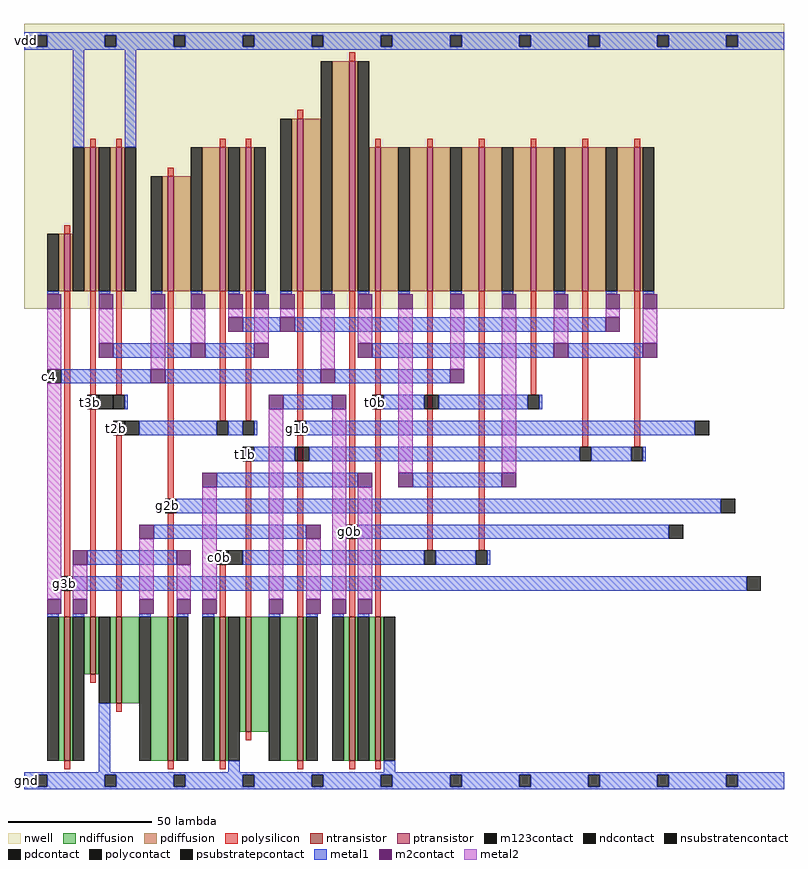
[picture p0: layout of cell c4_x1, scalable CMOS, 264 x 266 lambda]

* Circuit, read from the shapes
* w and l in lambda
.subckt c4_x1 c0b c4 g0b g1b g2b g3b t0b t1b t2b t3b vdd gnd
M1 n1 g3b c4 gnd nfet w=50 l=2
M2 gnd t3b n1 gnd nfet w=20 l=2
M3 n2 t2b gnd gnd nfet w=30 l=2
M4 n1 g2b n2 gnd nfet w=50 l=2
M5 gnd c0b n3 gnd nfet w=50 l=2
M6 n4 t1b gnd gnd nfet w=40 l=2
M7 n2 g1b n4 gnd nfet w=50 l=2
M8 n3 g0b n4 gnd nfet w=50 l=2
M9 gnd t0b n3 gnd nfet w=50 l=2
M10 vdd g3b c4 vdd pfet w=20 l=2
M11 n5 t3b vdd vdd pfet w=50 l=2 m=2
M12 n5 g2b c4 vdd pfet w=40 l=2
M13 n6 t2b n5 vdd pfet w=50 l=2 m=2
M14 c4 g1b n6 vdd pfet w=60 l=2
M15 n7 g0b c4 vdd pfet w=80 l=2
M16 n8 t0b n7 vdd pfet w=50 l=2 m=2
M17 c4 c0b n8 vdd pfet w=50 l=2 m=2
M18 n6 t1b n7 vdd pfet w=50 l=2 m=2
.ends

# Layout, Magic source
magic
tech scmos
<< nwell >>
rect 0 167 264 266
<< ntransistor >>
rect 14 10 16 60
rect 23 40 25 60
rect 32 30 34 60
rect 50 10 52 60
rect 68 10 70 60
rect 77 20 79 60
rect 95 10 97 60
rect 113 10 115 60
rect 122 10 124 60
<< ptransistor >>
rect 14 173 16 193
rect 23 173 25 223
rect 32 173 34 223
rect 50 173 52 213
rect 68 173 70 223
rect 77 173 79 223
rect 95 173 97 233
rect 113 173 115 253
rect 122 173 124 223
rect 140 173 142 223
rect 158 173 160 223
rect 176 173 178 223
rect 194 173 196 223
rect 212 173 214 223
<< ndiffusion >>
rect 12 10 14 60
rect 16 10 17 60
rect 21 40 23 60
rect 25 40 26 60
rect 30 30 32 60
rect 34 30 40 60
rect 44 10 50 60
rect 52 10 53 60
rect 66 10 68 60
rect 70 10 71 60
rect 75 20 77 60
rect 79 20 85 60
rect 89 10 95 60
rect 97 10 98 60
rect 111 10 113 60
rect 115 10 116 60
rect 120 10 122 60
rect 124 10 125 60
<< pdiffusion >>
rect 12 173 14 193
rect 16 173 17 193
rect 21 173 23 223
rect 25 173 26 223
rect 30 173 32 223
rect 34 173 35 223
rect 48 173 50 213
rect 52 173 58 213
rect 62 173 68 223
rect 70 173 71 223
rect 75 173 77 223
rect 79 173 80 223
rect 93 173 95 233
rect 97 173 103 233
rect 107 173 113 253
rect 115 173 116 253
rect 120 173 122 223
rect 124 173 130 223
rect 134 173 140 223
rect 142 173 148 223
rect 152 173 158 223
rect 160 173 166 223
rect 170 173 176 223
rect 178 173 184 223
rect 188 173 194 223
rect 196 173 202 223
rect 206 173 212 223
rect 214 173 215 223
<< ndcontact >>
rect 8 10 12 60
rect 17 10 21 60
rect 26 30 30 60
rect 40 10 44 60
rect 53 10 57 60
rect 62 10 66 60
rect 71 10 75 60
rect 85 10 89 60
rect 98 10 102 60
rect 107 10 111 60
rect 116 10 120 60
rect 125 10 129 60
<< pdcontact >>
rect 8 173 12 193
rect 17 173 21 223
rect 26 173 30 223
rect 35 173 39 223
rect 44 173 48 213
rect 58 173 62 223
rect 71 173 75 223
rect 80 173 84 223
rect 89 173 93 233
rect 103 173 107 253
rect 116 173 120 253
rect 130 173 134 223
rect 148 173 152 223
rect 166 173 170 223
rect 184 173 188 223
rect 202 173 206 223
rect 215 173 219 223
<< psubstratepcontact >>
rect 4 1 8 5
rect 28 1 32 5
rect 52 1 56 5
rect 76 1 80 5
rect 100 1 104 5
rect 124 1 128 5
rect 148 1 152 5
rect 172 1 176 5
rect 196 1 200 5
rect 220 1 224 5
rect 244 1 248 5
<< nsubstratencontact >>
rect 4 258 8 262
rect 28 258 32 262
rect 52 258 56 262
rect 76 258 80 262
rect 100 258 104 262
rect 124 258 128 262
rect 148 258 152 262
rect 172 258 176 262
rect 196 258 200 262
rect 220 258 224 262
rect 244 258 248 262
<< polysilicon >>
rect 113 253 115 256
rect 95 233 97 236
rect 23 223 25 226
rect 32 223 34 226
rect 68 223 70 226
rect 77 223 79 226
rect 14 193 16 196
rect 50 213 52 216
rect 122 223 124 226
rect 140 223 142 226
rect 158 223 160 226
rect 176 223 178 226
rect 194 223 196 226
rect 212 223 214 226
rect 14 74 16 173
rect 23 137 25 173
rect 32 137 34 173
rect 14 60 16 69
rect 23 60 25 132
rect 32 60 34 123
rect 50 101 52 173
rect 68 128 70 173
rect 77 128 79 173
rect 95 128 97 173
rect 50 60 52 96
rect 68 60 70 78
rect 77 60 79 114
rect 95 60 97 123
rect 113 92 115 173
rect 122 137 124 173
rect 113 60 115 87
rect 122 60 124 132
rect 140 83 142 173
rect 158 83 160 173
rect 176 137 178 173
rect 194 119 196 173
rect 212 119 214 173
rect 23 37 25 40
rect 32 27 34 30
rect 77 17 79 20
rect 14 7 16 10
rect 50 7 52 10
rect 68 7 70 10
rect 95 7 97 10
rect 113 7 115 10
rect 122 7 124 10
<< polycontact >>
rect 22 132 26 137
rect 31 132 35 137
rect 13 69 17 74
rect 31 123 35 128
rect 67 123 71 128
rect 76 123 80 128
rect 94 123 98 128
rect 76 114 80 119
rect 49 96 53 101
rect 67 78 71 83
rect 121 132 125 137
rect 112 87 116 92
rect 175 132 179 137
rect 193 114 197 119
rect 211 114 215 119
rect 139 78 143 83
rect 157 78 161 83
<< metal1 >>
rect 0 262 264 263
rect 0 258 4 262
rect 8 258 28 262
rect 32 258 52 262
rect 56 258 76 262
rect 80 258 100 262
rect 104 258 124 262
rect 128 258 148 262
rect 152 258 172 262
rect 176 258 196 262
rect 200 258 220 262
rect 224 258 244 262
rect 248 258 264 262
rect 0 257 264 258
rect 17 223 21 257
rect 35 223 39 257
rect 8 172 12 173
rect 26 172 30 173
rect 44 172 48 173
rect 58 172 62 173
rect 71 172 75 173
rect 80 172 84 173
rect 89 172 93 173
rect 103 172 107 173
rect 116 172 120 173
rect 130 172 134 173
rect 148 172 152 173
rect 166 172 170 173
rect 184 172 188 173
rect 202 172 206 173
rect 215 172 219 173
rect 76 159 89 164
rect 94 159 202 164
rect 31 150 58 155
rect 63 150 80 155
rect 121 150 184 155
rect 189 150 215 155
rect 13 141 44 146
rect 49 141 103 146
rect 108 141 148 146
rect 35 132 36 137
rect 90 132 107 137
rect 125 132 139 137
rect 144 132 175 137
rect 179 132 180 137
rect 40 123 67 128
rect 71 123 76 128
rect 80 123 81 128
rect 98 123 233 128
rect 80 114 94 119
rect 99 114 193 119
rect 197 114 211 119
rect 215 114 216 119
rect 67 105 116 110
rect 135 105 166 110
rect 53 96 242 101
rect 45 87 98 92
rect 116 87 224 92
rect 22 78 53 83
rect 76 78 139 83
rect 143 78 157 83
rect 161 78 162 83
rect 17 69 251 74
rect 8 60 12 61
rect 17 60 21 61
rect 40 60 44 61
rect 26 6 30 30
rect 53 60 57 61
rect 62 60 66 61
rect 85 60 89 61
rect 98 60 102 61
rect 107 60 111 61
rect 116 60 120 61
rect 71 6 75 10
rect 125 6 129 10
rect 0 5 264 6
rect 0 1 4 5
rect 8 1 28 5
rect 32 1 52 5
rect 56 1 76 5
rect 80 1 100 5
rect 104 1 124 5
rect 128 1 148 5
rect 152 1 172 5
rect 176 1 196 5
rect 200 1 220 5
rect 224 1 244 5
rect 248 1 264 5
rect 0 0 264 1
<< m2contact >>
rect 8 167 13 172
rect 26 167 31 172
rect 44 167 49 172
rect 58 167 63 172
rect 71 167 76 172
rect 80 167 85 172
rect 89 167 94 172
rect 103 167 108 172
rect 116 167 121 172
rect 130 167 135 172
rect 148 167 153 172
rect 166 167 171 172
rect 184 167 189 172
rect 202 167 207 172
rect 215 167 220 172
rect 71 159 76 164
rect 89 159 94 164
rect 202 159 207 164
rect 26 150 31 155
rect 58 150 63 155
rect 80 150 85 155
rect 116 150 121 155
rect 184 150 189 155
rect 215 150 220 155
rect 44 141 49 146
rect 103 141 108 146
rect 148 141 153 146
rect 85 132 90 137
rect 107 132 112 137
rect 62 105 67 110
rect 116 105 121 110
rect 130 105 135 110
rect 166 105 171 110
rect 40 87 45 92
rect 98 87 103 92
rect 17 78 22 83
rect 53 78 58 83
rect 8 61 13 66
rect 17 61 22 66
rect 40 61 45 66
rect 53 61 58 66
rect 62 61 67 66
rect 85 61 90 66
rect 98 61 103 66
rect 107 61 112 66
rect 116 61 121 66
<< metal2 >>
rect 8 146 13 167
rect 26 155 31 167
rect 44 146 49 167
rect 58 155 63 167
rect 71 164 76 167
rect 80 155 85 167
rect 89 164 94 167
rect 103 146 108 167
rect 116 155 121 167
rect 8 66 13 141
rect 17 66 22 78
rect 40 66 45 87
rect 53 66 58 78
rect 62 66 67 105
rect 85 66 90 132
rect 98 66 103 87
rect 107 66 112 132
rect 130 110 135 167
rect 148 146 153 167
rect 166 110 171 167
rect 184 155 189 167
rect 202 164 207 167
rect 215 155 220 167
rect 116 66 121 105
<< m123contact >>
rect 8 141 13 146
rect 26 132 31 137
rect 35 123 40 128
rect 71 78 76 83
rect 94 114 99 119
rect 139 132 144 137
rect 233 123 238 128
rect 242 96 247 101
rect 224 87 229 92
rect 251 69 256 74
<< labels >>
rlabel metal1 67 78 69 83 0 c0b
port 1 nsew
rlabel metal1 8 141 10 146 0 c4
port 2 nsew
rlabel metal1 112 87 114 92 0 g0b
port 3 nsew
rlabel metal1 94 123 96 128 0 g1b
port 4 nsew
rlabel metal1 49 96 51 101 0 g2b
port 5 nsew
rlabel metal1 13 69 15 74 0 g3b
port 6 nsew
rlabel metal1 121 132 123 137 0 t0b
port 7 nsew
rlabel metal1 76 114 78 119 0 t1b
port 8 nsew
rlabel metal1 31 123 33 128 0 t2b
port 9 nsew
rlabel metal1 22 132 24 137 0 t3b
port 10 nsew
rlabel metal1 0 257 2 263 0 vdd
port 11 nsew
rlabel metal1 0 0 2 6 0 gnd
port 12 nsew
<< end >>
